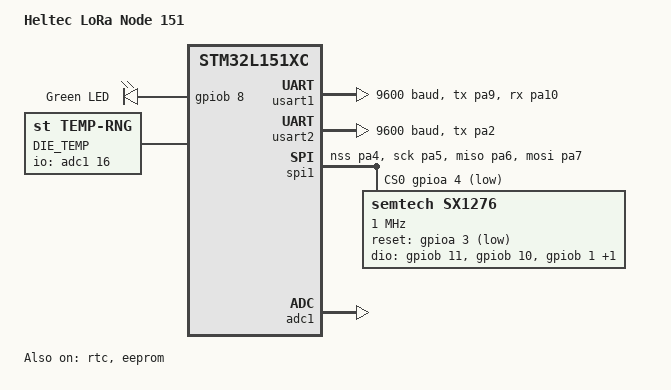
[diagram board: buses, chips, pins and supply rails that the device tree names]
/dts-v1/;
#include <st/l1/stm32l151Xc.dtsi>
#include <st/l1/stm32l151ccux-pinctrl.dtsi>

/ {
	model = "Heltec LoRa Node 151";
	compatible = "heltec,lora-node-151";

	chosen {
		zephyr,console = &usart1;
		zephyr,shell-uart = &usart1;
		zephyr,sram = &sram0;
		zephyr,flash = &flash0;
		zephyr,entropy = &temprng;
	};

	leds {
		compatible = "gpio-leds";
		green_led: led_0 {
			gpios = <&gpiob 8 GPIO_ACTIVE_HIGH>;
			label = "Green LED";
		};
	};

	aliases {
		led0 = &green_led;
		eeprom-0 = &eeprom;
		lora0 = &lora;
	};

	temprng: temprng {
		compatible = "st,temp-rng";
		io-channels = <&adc1 16>;
		status = "okay";
		label = "DIE_TEMP";
	};
};

&clk_hsi {
	status = "okay";
};

&pll {
	div = <2>;
	mul = <4>;
	clocks = <&clk_hsi>;
	status = "okay";
};

&rcc {
	clocks = <&pll>;
	clock-frequency = <DT_FREQ_M(32)>;
	ahb-prescaler = <1>;
	apb1-prescaler = <1>;
	apb2-prescaler = <1>;
};

&usart1 {
	pinctrl-0 = <&usart1_tx_pa9 &usart1_rx_pa10>;
	pinctrl-names = "default";
	current-speed = <9600>;
	status = "okay";
};

&usart2 {
	pinctrl-0 = <&usart2_tx_pa2>;
	// the RX pin is connected to the lora reset pin
	single-wire;
	pinctrl-names = "default";
	current-speed = <9600>;
	status = "okay";
};

&spi1 {
	pinctrl-0 = <&spi1_nss_pa4 &spi1_sck_pa5
		     &spi1_miso_pa6 &spi1_mosi_pa7>;
	pinctrl-names = "default";
	status = "okay";
	cs-gpios = <&gpioa 4 GPIO_ACTIVE_LOW>;

	lora: lora@0 {
		compatible = "semtech,sx1276";
		reg = <0>;
		label = "sx1276";
		reset-gpios = <&gpioa 3 GPIO_ACTIVE_LOW>;
		dio-gpios = <&gpiob 11 (GPIO_PULL_DOWN | GPIO_ACTIVE_HIGH)>,
			<&gpiob 10 (GPIO_PULL_DOWN | GPIO_ACTIVE_HIGH)>,
			<&gpiob 1 (GPIO_PULL_DOWN | GPIO_ACTIVE_HIGH)>,
			<&gpiob 0 (GPIO_PULL_DOWN | GPIO_ACTIVE_HIGH)>;
		spi-max-frequency = <1000000>;
		power-amplifier-output = "pa-boost";
	};
};

&rtc {
	status = "okay";
};

&eeprom {
	status = "okay";
};

&adc1 {
	pinctrl-0 = <>;
	pinctrl-names = "default";
	status = "okay";
};
